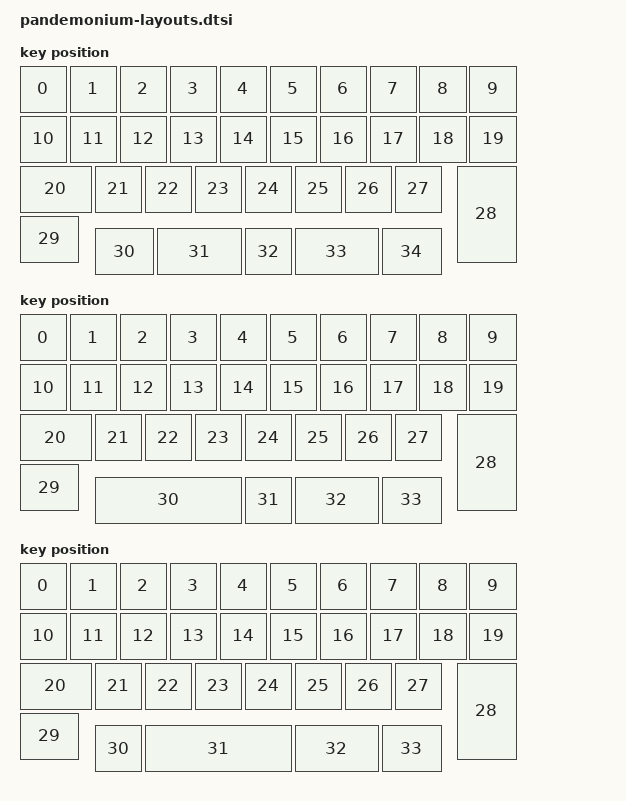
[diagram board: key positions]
/*
 * Copyright (c) 2024 The ZMK Contributors
 *
 * SPDX-License-Identifier: MIT
 */

#include <physical_layouts.dtsi>

/ {
    default_layout: default_layout {
        compatible = "zmk,physical-layout";
        display-name = "Default";

        transform = <&default_transform>;

        keys  //                     w   h    x    y     rot   rx   ry
            = <&key_physical_attrs 100 100    0    0       0    0    0>
            , <&key_physical_attrs 100 100  100    0       0    0    0>
            , <&key_physical_attrs 100 100  200    0       0    0    0>
            , <&key_physical_attrs 100 100  300    0       0    0    0>
            , <&key_physical_attrs 100 100  400    0       0    0    0>
            , <&key_physical_attrs 100 100  500    0       0    0    0>
            , <&key_physical_attrs 100 100  600    0       0    0    0>
            , <&key_physical_attrs 100 100  700    0       0    0    0>
            , <&key_physical_attrs 100 100  800    0       0    0    0>
            , <&key_physical_attrs 100 100  900    0       0    0    0>
            , <&key_physical_attrs 100 100    0  100       0    0    0>
            , <&key_physical_attrs 100 100  100  100       0    0    0>
            , <&key_physical_attrs 100 100  200  100       0    0    0>
            , <&key_physical_attrs 100 100  300  100       0    0    0>
            , <&key_physical_attrs 100 100  400  100       0    0    0>
            , <&key_physical_attrs 100 100  500  100       0    0    0>
            , <&key_physical_attrs 100 100  600  100       0    0    0>
            , <&key_physical_attrs 100 100  700  100       0    0    0>
            , <&key_physical_attrs 100 100  800  100       0    0    0>
            , <&key_physical_attrs 100 100  900  100       0    0    0>
            , <&key_physical_attrs 150 100    0  200       0    0    0>
            , <&key_physical_attrs 100 100  150  200       0    0    0>
            , <&key_physical_attrs 100 100  250  200       0    0    0>
            , <&key_physical_attrs 100 100  350  200       0    0    0>
            , <&key_physical_attrs 100 100  450  200       0    0    0>
            , <&key_physical_attrs 100 100  550  200       0    0    0>
            , <&key_physical_attrs 100 100  650  200       0    0    0>
            , <&key_physical_attrs 100 100  750  200       0    0    0>
            , <&key_physical_attrs 125 200  875  200       0    0    0>
            , <&key_physical_attrs 125 100    0  300       0    0    0>
            , <&key_physical_attrs 125 100  150  325       0    0    0>
            , <&key_physical_attrs 175 100  275  325       0    0    0>
            , <&key_physical_attrs 100 100  450  325       0    0    0>
            , <&key_physical_attrs 175 100  550  325       0    0    0>
            , <&key_physical_attrs 125 100  725  325       0    0    0>
            ;
    };

    three_one_175u_125u_layout: three_one_175u_125u_layout {
        compatible = "zmk,physical-layout";
        display-name = "3u 1u 1.75u 1.25u";

        transform = <&three_one_175u_125u_transform>;

        keys  //                     w   h    x    y     rot   rx   ry
            = <&key_physical_attrs 100 100    0    0       0    0    0>
            , <&key_physical_attrs 100 100  100    0       0    0    0>
            , <&key_physical_attrs 100 100  200    0       0    0    0>
            , <&key_physical_attrs 100 100  300    0       0    0    0>
            , <&key_physical_attrs 100 100  400    0       0    0    0>
            , <&key_physical_attrs 100 100  500    0       0    0    0>
            , <&key_physical_attrs 100 100  600    0       0    0    0>
            , <&key_physical_attrs 100 100  700    0       0    0    0>
            , <&key_physical_attrs 100 100  800    0       0    0    0>
            , <&key_physical_attrs 100 100  900    0       0    0    0>
            , <&key_physical_attrs 100 100    0  100       0    0    0>
            , <&key_physical_attrs 100 100  100  100       0    0    0>
            , <&key_physical_attrs 100 100  200  100       0    0    0>
            , <&key_physical_attrs 100 100  300  100       0    0    0>
            , <&key_physical_attrs 100 100  400  100       0    0    0>
            , <&key_physical_attrs 100 100  500  100       0    0    0>
            , <&key_physical_attrs 100 100  600  100       0    0    0>
            , <&key_physical_attrs 100 100  700  100       0    0    0>
            , <&key_physical_attrs 100 100  800  100       0    0    0>
            , <&key_physical_attrs 100 100  900  100       0    0    0>
            , <&key_physical_attrs 150 100    0  200       0    0    0>
            , <&key_physical_attrs 100 100  150  200       0    0    0>
            , <&key_physical_attrs 100 100  250  200       0    0    0>
            , <&key_physical_attrs 100 100  350  200       0    0    0>
            , <&key_physical_attrs 100 100  450  200       0    0    0>
            , <&key_physical_attrs 100 100  550  200       0    0    0>
            , <&key_physical_attrs 100 100  650  200       0    0    0>
            , <&key_physical_attrs 100 100  750  200       0    0    0>
            , <&key_physical_attrs 125 200  875  200       0    0    0>
            , <&key_physical_attrs 125 100    0  300       0    0    0>
            , <&key_physical_attrs 300 100  150  325       0    0    0>
            , <&key_physical_attrs 100 100  450  325       0    0    0>
            , <&key_physical_attrs 175 100  550  325       0    0    0>
            , <&key_physical_attrs 125 100  725  325       0    0    0>
            ;
    };

    one_three_175u_125u_layout: one_three_175u_125u_layout {
        compatible = "zmk,physical-layout";
        display-name = "1u 3u 1.75u 1.25u";

        transform = <&one_three_175u_125u_transform>;

        keys  //                     w   h    x    y     rot   rx   ry
            = <&key_physical_attrs 100 100    0    0       0    0    0>
            , <&key_physical_attrs 100 100  100    0       0    0    0>
            , <&key_physical_attrs 100 100  200    0       0    0    0>
            , <&key_physical_attrs 100 100  300    0       0    0    0>
            , <&key_physical_attrs 100 100  400    0       0    0    0>
            , <&key_physical_attrs 100 100  500    0       0    0    0>
            , <&key_physical_attrs 100 100  600    0       0    0    0>
            , <&key_physical_attrs 100 100  700    0       0    0    0>
            , <&key_physical_attrs 100 100  800    0       0    0    0>
            , <&key_physical_attrs 100 100  900    0       0    0    0>
            , <&key_physical_attrs 100 100    0  100       0    0    0>
            , <&key_physical_attrs 100 100  100  100       0    0    0>
            , <&key_physical_attrs 100 100  200  100       0    0    0>
            , <&key_physical_attrs 100 100  300  100       0    0    0>
            , <&key_physical_attrs 100 100  400  100       0    0    0>
            , <&key_physical_attrs 100 100  500  100       0    0    0>
            , <&key_physical_attrs 100 100  600  100       0    0    0>
            , <&key_physical_attrs 100 100  700  100       0    0    0>
            , <&key_physical_attrs 100 100  800  100       0    0    0>
            , <&key_physical_attrs 100 100  900  100       0    0    0>
            , <&key_physical_attrs 150 100    0  200       0    0    0>
            , <&key_physical_attrs 100 100  150  200       0    0    0>
            , <&key_physical_attrs 100 100  250  200       0    0    0>
            , <&key_physical_attrs 100 100  350  200       0    0    0>
            , <&key_physical_attrs 100 100  450  200       0    0    0>
            , <&key_physical_attrs 100 100  550  200       0    0    0>
            , <&key_physical_attrs 100 100  650  200       0    0    0>
            , <&key_physical_attrs 100 100  750  200       0    0    0>
            , <&key_physical_attrs 125 200  875  200       0    0    0>
            , <&key_physical_attrs 125 100    0  300       0    0    0>
            , <&key_physical_attrs 100 100  150  325       0    0    0>
            , <&key_physical_attrs 300 100  250  325       0    0    0>
            , <&key_physical_attrs 175 100  550  325       0    0    0>
            , <&key_physical_attrs 125 100  725  325       0    0    0>
            ;
    };

    four_key_symmetric_split_layout: four_key_symmetric_split_layout {
        compatible = "zmk,physical-layout";
        display-name = "125u 225u 225u 125u";

        transform = <&four_key_symmetric_split_transform>;

        keys  //                     w   h    x    y     rot   rx   ry
            = <&key_physical_attrs 100 100    0    0       0    0    0>
            , <&key_physical_attrs 100 100  100    0       0    0    0>
            , <&key_physical_attrs 100 100  200    0       0    0    0>
            , <&key_physical_attrs 100 100  300    0       0    0    0>
            , <&key_physical_attrs 100 100  400    0       0    0    0>
            , <&key_physical_attrs 100 100  500    0       0    0    0>
            , <&key_physical_attrs 100 100  600    0       0    0    0>
            , <&key_physical_attrs 100 100  700    0       0    0    0>
            , <&key_physical_attrs 100 100  800    0       0    0    0>
            , <&key_physical_attrs 100 100  900    0       0    0    0>
            , <&key_physical_attrs 100 100    0  100       0    0    0>
            , <&key_physical_attrs 100 100  100  100       0    0    0>
            , <&key_physical_attrs 100 100  200  100       0    0    0>
            , <&key_physical_attrs 100 100  300  100       0    0    0>
            , <&key_physical_attrs 100 100  400  100       0    0    0>
            , <&key_physical_attrs 100 100  500  100       0    0    0>
            , <&key_physical_attrs 100 100  600  100       0    0    0>
            , <&key_physical_attrs 100 100  700  100       0    0    0>
            , <&key_physical_attrs 100 100  800  100       0    0    0>
            , <&key_physical_attrs 100 100  900  100       0    0    0>
            , <&key_physical_attrs 150 100    0  200       0    0    0>
            , <&key_physical_attrs 100 100  150  200       0    0    0>
            , <&key_physical_attrs 100 100  250  200       0    0    0>
            , <&key_physical_attrs 100 100  350  200       0    0    0>
            , <&key_physical_attrs 100 100  450  200       0    0    0>
            , <&key_physical_attrs 100 100  550  200       0    0    0>
            , <&key_physical_attrs 100 100  650  200       0    0    0>
            , <&key_physical_attrs 100 100  750  200       0    0    0>
            , <&key_physical_attrs 125 200  875  200       0    0    0>
            , <&key_physical_attrs 125 100    0  300       0    0    0>
            , <&key_physical_attrs 125 100  150  325       0    0    0>
            , <&key_physical_attrs 225 100  275  325       0    0    0>
            , <&key_physical_attrs 225 100  500  325       0    0    0>
            , <&key_physical_attrs 125 100  725  325       0    0    0>
            ;
    };

    three_one_three_layout: three_one_three_layout {
        compatible = "zmk,physical-layout";
        display-name = "3u 1u 3u";

        transform = <&three_one_three_transform>;

        keys  //                     w   h    x    y     rot   rx   ry
            = <&key_physical_attrs 100 100    0    0       0    0    0>
            , <&key_physical_attrs 100 100  100    0       0    0    0>
            , <&key_physical_attrs 100 100  200    0       0    0    0>
            , <&key_physical_attrs 100 100  300    0       0    0    0>
            , <&key_physical_attrs 100 100  400    0       0    0    0>
            , <&key_physical_attrs 100 100  500    0       0    0    0>
            , <&key_physical_attrs 100 100  600    0       0    0    0>
            , <&key_physical_attrs 100 100  700    0       0    0    0>
            , <&key_physical_attrs 100 100  800    0       0    0    0>
            , <&key_physical_attrs 100 100  900    0       0    0    0>
            , <&key_physical_attrs 100 100    0  100       0    0    0>
            , <&key_physical_attrs 100 100  100  100       0    0    0>
            , <&key_physical_attrs 100 100  200  100       0    0    0>
            , <&key_physical_attrs 100 100  300  100       0    0    0>
            , <&key_physical_attrs 100 100  400  100       0    0    0>
            , <&key_physical_attrs 100 100  500  100       0    0    0>
            , <&key_physical_attrs 100 100  600  100       0    0    0>
            , <&key_physical_attrs 100 100  700  100       0    0    0>
            , <&key_physical_attrs 100 100  800  100       0    0    0>
            , <&key_physical_attrs 100 100  900  100       0    0    0>
            , <&key_physical_attrs 150 100    0  200       0    0    0>
            , <&key_physical_attrs 100 100  150  200       0    0    0>
            , <&key_physical_attrs 100 100  250  200       0    0    0>
            , <&key_physical_attrs 100 100  350  200       0    0    0>
            , <&key_physical_attrs 100 100  450  200       0    0    0>
            , <&key_physical_attrs 100 100  550  200       0    0    0>
            , <&key_physical_attrs 100 100  650  200       0    0    0>
            , <&key_physical_attrs 100 100  750  200       0    0    0>
            , <&key_physical_attrs 125 200  875  200       0    0    0>
            , <&key_physical_attrs 125 100    0  300       0    0    0>
            , <&key_physical_attrs 300 100  150  325       0    0    0>
            , <&key_physical_attrs 100 100  450  325       0    0    0>
            , <&key_physical_attrs 300 100  550  325       0    0    0>
            ;
    };

    one_three_three_layout: one_three_three_layout {
        compatible = "zmk,physical-layout";
        display-name = "1u 3u 3u";

        transform = <&one_three_three_transform>;

        keys  //                     w   h    x    y     rot   rx   ry
            = <&key_physical_attrs 100 100    0    0       0    0    0>
            , <&key_physical_attrs 100 100  100    0       0    0    0>
            , <&key_physical_attrs 100 100  200    0       0    0    0>
            , <&key_physical_attrs 100 100  300    0       0    0    0>
            , <&key_physical_attrs 100 100  400    0       0    0    0>
            , <&key_physical_attrs 100 100  500    0       0    0    0>
            , <&key_physical_attrs 100 100  600    0       0    0    0>
            , <&key_physical_attrs 100 100  700    0       0    0    0>
            , <&key_physical_attrs 100 100  800    0       0    0    0>
            , <&key_physical_attrs 100 100  900    0       0    0    0>
            , <&key_physical_attrs 100 100    0  100       0    0    0>
            , <&key_physical_attrs 100 100  100  100       0    0    0>
            , <&key_physical_attrs 100 100  200  100       0    0    0>
            , <&key_physical_attrs 100 100  300  100       0    0    0>
            , <&key_physical_attrs 100 100  400  100       0    0    0>
            , <&key_physical_attrs 100 100  500  100       0    0    0>
            , <&key_physical_attrs 100 100  600  100       0    0    0>
            , <&key_physical_attrs 100 100  700  100       0    0    0>
            , <&key_physical_attrs 100 100  800  100       0    0    0>
            , <&key_physical_attrs 100 100  900  100       0    0    0>
            , <&key_physical_attrs 150 100    0  200       0    0    0>
            , <&key_physical_attrs 100 100  150  200       0    0    0>
            , <&key_physical_attrs 100 100  250  200       0    0    0>
            , <&key_physical_attrs 100 100  350  200       0    0    0>
            , <&key_physical_attrs 100 100  450  200       0    0    0>
            , <&key_physical_attrs 100 100  550  200       0    0    0>
            , <&key_physical_attrs 100 100  650  200       0    0    0>
            , <&key_physical_attrs 100 100  750  200       0    0    0>
            , <&key_physical_attrs 125 200  875  200       0    0    0>
            , <&key_physical_attrs 125 100    0  300       0    0    0>
            , <&key_physical_attrs 100 100  150  325       0    0    0>
            , <&key_physical_attrs 300 100  250  325       0    0    0>
            , <&key_physical_attrs 300 100  550  325       0    0    0>
            ;
    };

    one_six_layout: one_six_layout {
        compatible = "zmk,physical-layout";
        display-name = "1u 6u";

        transform = <&one_six_transform>;

        keys  //                     w   h    x    y     rot   rx   ry
            = <&key_physical_attrs 100 100    0    0       0    0    0>
            , <&key_physical_attrs 100 100  100    0       0    0    0>
            , <&key_physical_attrs 100 100  200    0       0    0    0>
            , <&key_physical_attrs 100 100  300    0       0    0    0>
            , <&key_physical_attrs 100 100  400    0       0    0    0>
            , <&key_physical_attrs 100 100  500    0       0    0    0>
            , <&key_physical_attrs 100 100  600    0       0    0    0>
            , <&key_physical_attrs 100 100  700    0       0    0    0>
            , <&key_physical_attrs 100 100  800    0       0    0    0>
            , <&key_physical_attrs 100 100  900    0       0    0    0>
            , <&key_physical_attrs 100 100    0  100       0    0    0>
            , <&key_physical_attrs 100 100  100  100       0    0    0>
            , <&key_physical_attrs 100 100  200  100       0    0    0>
            , <&key_physical_attrs 100 100  300  100       0    0    0>
            , <&key_physical_attrs 100 100  400  100       0    0    0>
            , <&key_physical_attrs 100 100  500  100       0    0    0>
            , <&key_physical_attrs 100 100  600  100       0    0    0>
            , <&key_physical_attrs 100 100  700  100       0    0    0>
            , <&key_physical_attrs 100 100  800  100       0    0    0>
            , <&key_physical_attrs 100 100  900  100       0    0    0>
            , <&key_physical_attrs 150 100    0  200       0    0    0>
            , <&key_physical_attrs 100 100  150  200       0    0    0>
            , <&key_physical_attrs 100 100  250  200       0    0    0>
            , <&key_physical_attrs 100 100  350  200       0    0    0>
            , <&key_physical_attrs 100 100  450  200       0    0    0>
            , <&key_physical_attrs 100 100  550  200       0    0    0>
            , <&key_physical_attrs 100 100  650  200       0    0    0>
            , <&key_physical_attrs 100 100  750  200       0    0    0>
            , <&key_physical_attrs 125 200  875  200       0    0    0>
            , <&key_physical_attrs 125 100    0  300       0    0    0>
            , <&key_physical_attrs 100 100  150  325       0    0    0>
            , <&key_physical_attrs 600 100  250  325       0    0    0>
            ;
    };

    bigbar_layout: bigbar_layout {
        compatible = "zmk,physical-layout";
        display-name = "Big Bar";

        transform = <&bigbar_transform>;

        keys  //                     w   h    x    y     rot   rx   ry
            = <&key_physical_attrs 100 100    0    0       0    0    0>
            , <&key_physical_attrs 100 100  100    0       0    0    0>
            , <&key_physical_attrs 100 100  200    0       0    0    0>
            , <&key_physical_attrs 100 100  300    0       0    0    0>
            , <&key_physical_attrs 100 100  400    0       0    0    0>
            , <&key_physical_attrs 100 100  500    0       0    0    0>
            , <&key_physical_attrs 100 100  600    0       0    0    0>
            , <&key_physical_attrs 100 100  700    0       0    0    0>
            , <&key_physical_attrs 100 100  800    0       0    0    0>
            , <&key_physical_attrs 100 100  900    0       0    0    0>
            , <&key_physical_attrs 100 100    0  100       0    0    0>
            , <&key_physical_attrs 100 100  100  100       0    0    0>
            , <&key_physical_attrs 100 100  200  100       0    0    0>
            , <&key_physical_attrs 100 100  300  100       0    0    0>
            , <&key_physical_attrs 100 100  400  100       0    0    0>
            , <&key_physical_attrs 100 100  500  100       0    0    0>
            , <&key_physical_attrs 100 100  600  100       0    0    0>
            , <&key_physical_attrs 100 100  700  100       0    0    0>
            , <&key_physical_attrs 100 100  800  100       0    0    0>
            , <&key_physical_attrs 100 100  900  100       0    0    0>
            , <&key_physical_attrs 150 100    0  200       0    0    0>
            , <&key_physical_attrs 100 100  150  200       0    0    0>
            , <&key_physical_attrs 100 100  250  200       0    0    0>
            , <&key_physical_attrs 100 100  350  200       0    0    0>
            , <&key_physical_attrs 100 100  450  200       0    0    0>
            , <&key_physical_attrs 100 100  550  200       0    0    0>
            , <&key_physical_attrs 100 100  650  200       0    0    0>
            , <&key_physical_attrs 100 100  750  200       0    0    0>
            , <&key_physical_attrs 125 200  875  200       0    0    0>
            , <&key_physical_attrs 125 100    0  300       0    0    0>
            , <&key_physical_attrs 700 100  150  325       0    0    0>
            ;
    };

    position_map {
        compatible = "zmk,physical-layout-position-map";
        default_map {
            physical-layout = <&default_layout>;
            positions
                = < 30 31 32 33 34 >;
        };

        /* Note: positions 0-34 are actually on the PCB.
         * Positions 35 and above are placeholders which will hopefully be used and restored when switching between layouts.
         */
        three_one_175u_125u_map {
            physical-layout = <&three_one_175u_125u_layout>;
            positions
                = < 35 30 31 32 33 >;
        };

        one_three_175u_125u_map {
            physical-layout = <&one_three_175u_125u_layout>;
            positions
                = < 30 31 36 32 33 >;
        };

        four_key_symmetric_split_map {
            physical-layout = <&four_key_symmetric_split_layout>;
            positions
                = < 30 31 37 32 33 >;
        };

        three_one_three_map {
            physical-layout = <&three_one_three_layout>;
            positions
                = < 35 30 31 32 39 >;
        };

        one_six_map {
            physical-layout = <&one_six_layout>;
            positions
                = < 30 36 31 38 39 >;
        };

        bigbar_map {
            physical-layout = <&bigbar_layout>;
            positions
                = < 35 36 30 38 39 >;
        };
    };
};
